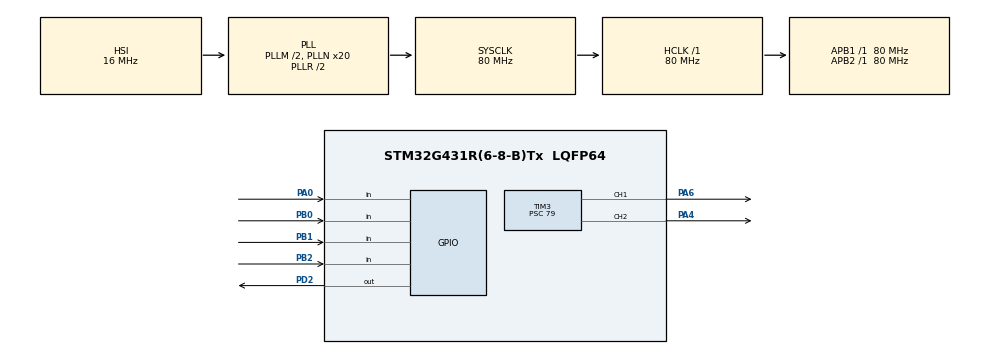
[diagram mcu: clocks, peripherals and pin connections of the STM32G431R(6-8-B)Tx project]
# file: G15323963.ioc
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Mcu.Family=STM32G4
Mcu.Name=STM32G431R(6-8-B)Tx
Mcu.Package=LQFP64
NVIC.PriorityGroup=NVIC_PRIORITYGROUP_2
NVIC.TIM3_IRQn=true\:0\:0\:false\:false\:true\:true\:true\:true
PA0.Signal=GPIO_Input
PA4.Signal=S_TIM3_CH2
PA6.Signal=S_TIM3_CH1
PB0.Signal=GPIO_Input
PB1.Signal=GPIO_Input
PB2.Signal=GPIO_Input
PD2.Signal=GPIO_Output
PF0-OSC_IN.Mode=HSE-External-Oscillator
PF0-OSC_IN.Signal=RCC_OSC_IN
PF1-OSC_OUT.Mode=HSE-External-Oscillator
PF1-OSC_OUT.Signal=RCC_OSC_OUT
ProjectManager.HeapSize=0x200
ProjectManager.StackSize=0x400
ProjectManager.TargetToolchain=MDK-ARM V5
RCC.ADC12Freq_Value=80000000
RCC.AHBFreq_Value=80000000
RCC.APB1Freq_Value=80000000
RCC.APB1TimFreq_Value=80000000
RCC.APB2Freq_Value=80000000
RCC.APB2TimFreq_Value=80000000
RCC.CortexFreq_Value=80000000
RCC.EXTERNAL_CLOCK_VALUE=12288000
RCC.HCLKFreq_Value=80000000
RCC.HSE_VALUE=24000000
RCC.HSI48_VALUE=48000000
RCC.HSI_VALUE=16000000
RCC.LSE_VALUE=32768
RCC.PLLM=RCC_PLLM_DIV2
RCC.PLLN=20
RCC.SYSCLKFreq_VALUE=80000000
RCC.SYSCLKSource=RCC_SYSCLKSOURCE_PLLCLK
RCC.USBFreq_Value=80000000
RCC.VCOOutputFreq_Value=160000000
SH.S_TIM3_CH1.0=TIM3_CH1,Output Compare1 CH1
SH.S_TIM3_CH2.0=TIM3_CH2,Output Compare2 CH2
TIM3.AutoReloadPreload=TIM_AUTORELOAD_PRELOAD_ENABLE
TIM3.Channel-Output\ Compare1\ CH1=TIM_CHANNEL_1
TIM3.Channel-Output\ Compare2\ CH2=TIM_CHANNEL_2
TIM3.OC1Preload=DISABLE
TIM3.OC2Preload=DISABLE
TIM3.OCMode_1=TIM_OCMODE_TOGGLE
TIM3.OCMode_2=TIM_OCMODE_TOGGLE
TIM3.Prescaler=79
TIM3.PulseNoDither_1=100
TIM3.PulseNoDither_2=1000
VP_SYS_VS_DBSignals.Mode=DisableDeadBatterySignals
board=custom

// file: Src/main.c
/* USER CODE BEGIN Header */
/**
  ******************************************************************************
  * @file           : main.c
  * @brief          : Main program body
  ******************************************************************************
  * @attention
  *
  * Copyright (c) 2024 STMicroelectronics.
  * All rights reserved.
  *
  * This software is licensed under terms that can be found in the LICENSE file
  * in the root directory of this software component.
  * If no LICENSE file comes with this software, it is provided AS-IS.
  *
  ******************************************************************************
  */
/* USER CODE END Header */
#include "main.h"
#include "tim.h"
#include "gpio.h"

/* USER CODE BEGIN Includes */
#include "stdio.h"
#include "string.h"
#include "lcd.h"
#include "led.h"
#include "key.h"
#include "demo.h"

/* USER CODE END Includes */

void SystemClock_Config(void);

/* USER CODE BEGIN 0 */

//LED
u8 led_ctrl = 0x00;
void Led_Proc(void)
{

	Led_Control(led_ctrl);
}

//KEY
uint32_t keyTick = 0;
void Key_Proc(void)
{
	if(uwTick - keyTick < 20) return;
	keyTick = uwTick;

	Key_Read();

	if(Trg & 0x01)
	{
		Led_Control(0x01);
	}

	if(Trg & 0x02)
	{
		Led_Control(0x02);
	}

	if(Trg & 0x04)
	{
		Led_Control(0x04);
	}

	if(Trg & 0x08)
	{
		Led_Control(0x08);
	}
}

//LCD
uint32_t lcdTick = 0;
void LCD_Proc(void)
{
	if(uwTick - lcdTick < 100) return;
	lcdTick = uwTick;

	u8 display_buf[30];

	sprintf((char*)display_buf,"Hello ");
	LCD_DisplayStringLine(Line0,display_buf);

}

//比较输出 100HZ - 10kHZ  0.2 - 0.8
uint32_t PA6_F = 10000;//最好在配置cubemx的时候与要求频率保持一致
double  PA6_D = 0.68;

uint32_t PA4_F = 5000;
double  PA4_D = 0.65;

uint32_t OC_Capture1;
uint32_t OC_Capture2;

uint32_t Pulse1;
uint32_t Pulse2;

void PWMOC_Proc(void)
{
	Pulse1 = 1e6/PA6_F;
	Pulse2 = 1e6/PA4_F;
}

void HAL_TIM_OC_DelayElapsedCallback(TIM_HandleTypeDef *htim)//核心，1.pulse为周期  2.ccr在变
{
	if(htim == &htim3)
	{
		if(htim->Channel == HAL_TIM_ACTIVE_CHANNEL_1)
		{
			OC_Capture1 = __HAL_TIM_GetCompare(&htim3,TIM_CHANNEL_1);
			if(HAL_GPIO_ReadPin(GPIOA,GPIO_PIN_6) == 0)
			{
				TIM3->CCR1 = OC_Capture1 + Pulse1*(1-PA6_D);
			}
			else
			{
				TIM3->CCR1 = OC_Capture1 + Pulse1*PA6_D;
			}

		}

		if(htim->Channel == HAL_TIM_ACTIVE_CHANNEL_2)
		{
			OC_Capture2 = __HAL_TIM_GetCompare(&htim3,TIM_CHANNEL_2);
			if(HAL_GPIO_ReadPin(GPIOA,GPIO_PIN_4) == 0)
			{
				TIM3->CCR2 = OC_Capture2 + Pulse2*(1-PA4_D);
			}
			else
			{
				TIM3->CCR2 = OC_Capture2 + Pulse2*PA4_D;
			}

		}

	}
}

//LED-PWM //100hz呼吸灯  10ms
int led_cnt;
_Bool led_flag = 0;
void SysTick_Handler(void)
{
  /* USER CODE BEGIN SysTick_IRQn 0 */

  /* USER CODE END SysTick_IRQn 0 */
  HAL_IncTick();
  /* USER CODE BEGIN SysTick_IRQn 1 */
  if(++led_cnt == 10)
	{
		led_cnt = 0;
	}
	  if(led_cnt < 4) //占空比为4/10
		  led_ctrl |=0x01;
		else
			led_ctrl &=~0x01;

  /* USER CODE END SysTick_IRQn 1 */
}

/* USER CODE END 0 */

int main(void)
{

  /* MCU Configuration--------------------------------------------------------*/

  /* Reset of all peripherals, Initializes the Flash interface and the Systick. */
  HAL_Init();

  /* USER CODE BEGIN Init */
	LCD_Init();

  /* USER CODE END Init */

  /* Configure the system clock */
  SystemClock_Config();

  /* Initialize all configured peripherals */
  MX_GPIO_Init();
  MX_TIM3_Init();
  /* USER CODE BEGIN 2 */

	//TIM3 CH1,CH2比较输出
	HAL_TIM_OC_Start_IT(&htim3,TIM_CHANNEL_1);
  HAL_TIM_OC_Start_IT(&htim3,TIM_CHANNEL_2);

  /* USER CODE END 2 */

  /* Infinite loop */
  /* USER CODE BEGIN WHILE */
	LCD_Clear(Black);
	LCD_SetBackColor(Black);
  LCD_SetTextColor(White);
  //  LCD_DisplayStringLine(Line4, (unsigned char *)"    Hello,world.   ");

  Led_Control(0x00);
  while (1)
  {
    /* USER CODE END WHILE */

    /* USER CODE BEGIN 3 */
		Led_Proc();
		Key_Proc();
		LCD_Proc();
		PWMOC_Proc();

  }
  /* USER CODE END 3 */
}

void SystemClock_Config(void)
{
  RCC_OscInitTypeDef RCC_OscInitStruct = {0};
  RCC_ClkInitTypeDef RCC_ClkInitStruct = {0};

  /** Configure the main internal regulator output voltage
  */
  HAL_PWREx_ControlVoltageScaling(PWR_REGULATOR_VOLTAGE_SCALE1);

  /** Initializes the RCC Oscillators according to the specified parameters
  * in the RCC_OscInitTypeDef structure.
  */
  RCC_OscInitStruct.OscillatorType = RCC_OSCILLATORTYPE_HSI;
  RCC_OscInitStruct.HSIState = RCC_HSI_ON;
  RCC_OscInitStruct.HSICalibrationValue = RCC_HSICALIBRATION_DEFAULT;
  RCC_OscInitStruct.PLL.PLLState = RCC_PLL_ON;
  RCC_OscInitStruct.PLL.PLLSource = RCC_PLLSOURCE_HSI;
  RCC_OscInitStruct.PLL.PLLM = RCC_PLLM_DIV2;
  RCC_OscInitStruct.PLL.PLLN = 20;
  RCC_OscInitStruct.PLL.PLLP = RCC_PLLP_DIV2;
  RCC_OscInitStruct.PLL.PLLQ = RCC_PLLQ_DIV2;
  RCC_OscInitStruct.PLL.PLLR = RCC_PLLR_DIV2;
  if (HAL_RCC_OscConfig(&RCC_OscInitStruct) != HAL_OK)
  {
    Error_Handler();
  }

  /** Initializes the CPU, AHB and APB buses clocks
  */
  RCC_ClkInitStruct.ClockType = RCC_CLOCKTYPE_HCLK|RCC_CLOCKTYPE_SYSCLK
                              |RCC_CLOCKTYPE_PCLK1|RCC_CLOCKTYPE_PCLK2;
  RCC_ClkInitStruct.SYSCLKSource = RCC_SYSCLKSOURCE_PLLCLK;
  RCC_ClkInitStruct.AHBCLKDivider = RCC_SYSCLK_DIV1;
  RCC_ClkInitStruct.APB1CLKDivider = RCC_HCLK_DIV1;
  RCC_ClkInitStruct.APB2CLKDivider = RCC_HCLK_DIV1;

  if (HAL_RCC_ClockConfig(&RCC_ClkInitStruct, FLASH_LATENCY_2) != HAL_OK)
  {
    Error_Handler();
  }
}

void Error_Handler(void)
{
  __disable_irq();
  while (1)
  {
  }
}
